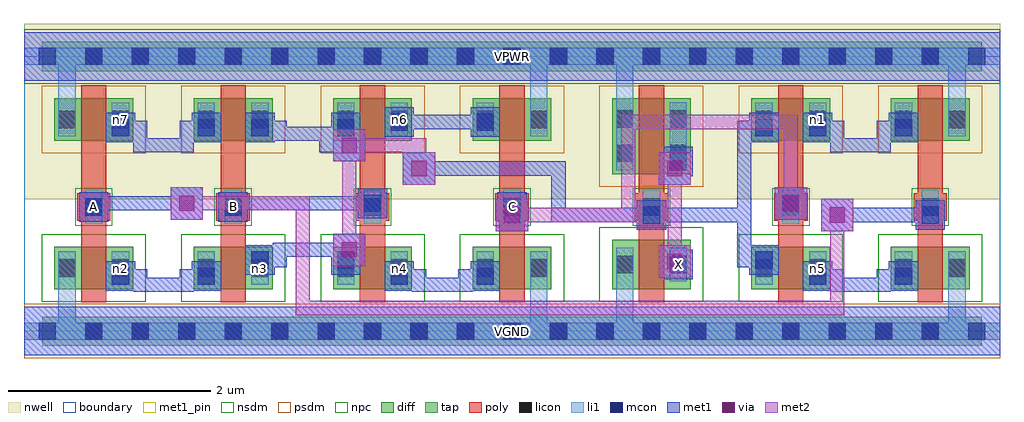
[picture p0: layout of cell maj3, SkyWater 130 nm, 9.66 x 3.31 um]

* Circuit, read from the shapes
.subckt maj3 A B C VGND VPWR X n1 n2 n3 n4 n5 n6 n7
XM1 n2 A VGND VGND sky130_fd_pr__nfet_01v8 w=0.42 l=0.25
XM2 n3 B n2 VGND sky130_fd_pr__nfet_01v8 w=0.42 l=0.25
XM3 n4 B n3 VGND sky130_fd_pr__nfet_01v8 w=0.42 l=0.25
XM4 VGND C n4 VGND sky130_fd_pr__nfet_01v8 w=0.42 l=0.25
XM5 X n3 VGND VGND sky130_fd_pr__nfet_01v8 w=0.49 l=0.25
XM6 n5 C n3 VGND sky130_fd_pr__nfet_01v8 w=0.42 l=0.25
XM7 VGND A n5 VGND sky130_fd_pr__nfet_01v8 w=0.42 l=0.25
XM8 n7 A VPWR VPWR sky130_fd_pr__pfet_01v8 w=0.42 l=0.25
XM9 n3 B n7 VPWR sky130_fd_pr__pfet_01v8 w=0.42 l=0.25
XM10 n6 B n3 VPWR sky130_fd_pr__pfet_01v8 w=0.42 l=0.25
XM11 VPWR C n6 VPWR sky130_fd_pr__pfet_01v8 w=0.42 l=0.25
XM12 X n3 VPWR VPWR sky130_fd_pr__pfet_01v8 w=0.75 l=0.25
XM13 n1 C n3 VPWR sky130_fd_pr__pfet_01v8 w=0.42 l=0.25
XM14 VPWR A n1 VPWR sky130_fd_pr__pfet_01v8 w=0.42 l=0.25
.ends

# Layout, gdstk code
import gdstk
lib = gdstk.Library(unit=1e-6, precision=1e-09)
def R(c, l, rs):  # rectangles x0, y0, x1, y1
    for r in rs: c.add(gdstk.rectangle(r[:2], r[2:], *l))
def A(c, l, x, y, w, h, nx, ny, dx, dy):  # array of equal rectangles
    R(c, l, [(x+i*dx, y+j*dy, x+i*dx+w, y+j*dy+h) for i in range(nx) for j in range(ny)])
nwell = (64, 20)
diff = (65, 20)
tap = (65, 44)
poly = (66, 20)
licon = (66, 44)
li1 = (67, 20)
mcon = (67, 44)
met1_pin = (68, 16)
met1 = (68, 20)
via = (68, 44)
met2 = (69, 20)
nsdm = (93, 44)
psdm = (94, 20)
npc = (95, 20)
boundary = (235, 4)

maj3 = lib.new_cell('maj3')
R(maj3, nwell, [(0,1.305,9.66,3.045)])
A(maj3, diff, 0.3, 0.415, 0.78, 0.42, 4, 2, 1.38, 1.47)
R(maj3, diff, [(5.82,0.415,6.6,0.905), (7.2,0.415,7.98,0.835), (8.58,0.415,9.36,0.835), (5.82,1.555,6.6,2.305), (7.2,1.885,7.98,2.305), (8.58,1.885,9.36,2.305)])
R(maj3, tap, [(0.18,-0.145,9.48,0.145), (0.18,2.575,9.48,2.865)])
A(maj3, poly, 0.565, 0.285, 0.25, 2.15, 7, 1, 1.38, 0)
A(maj3, poly, 0.525, 1.095, 0.33, 0.27, 7, 1, 1.38, 0)
A(maj3, licon, 0.605, -0.085, 0.17, 0.17, 19, 2, 0.46, 2.72)
A(maj3, licon, 0.605, 1.145, 0.17, 0.17, 7, 1, 1.38, 0)
R(maj3, licon, [(0.34,0.54,0.51,0.71), (0.87,0.54,1.04,0.71), (1.72,0.54,1.89,0.71), (2.25,0.54,2.42,0.71), (3.1,0.54,3.27,0.71), (3.63,0.54,3.8,0.71), (4.48,0.54,4.65,0.71), (5.01,0.54,5.18,0.71), (7.24,0.54,7.41,0.71), (7.77,0.54,7.94,0.71), (8.62,0.54,8.79,0.71), (9.15,0.54,9.32,0.71), (5.86,0.575,6.03,0.745), (6.39,0.575,6.56,0.745), (5.86,1.675,6.03,1.845), (6.39,1.675,6.56,1.845), (0.34,2.01,0.51,2.18), (0.87,2.01,1.04,2.18), (1.72,2.01,1.89,2.18), (2.25,2.01,2.42,2.18), (3.1,2.01,3.27,2.18), (3.63,2.01,3.8,2.18), (4.48,2.01,4.65,2.18), (5.01,2.01,5.18,2.18), (7.24,2.01,7.41,2.18), (7.77,2.01,7.94,2.18), (8.62,2.01,8.79,2.18), (9.15,2.01,9.32,2.18), (5.86,2.015,6.03,2.185), (6.39,2.015,6.56,2.185)])
A(maj3, li1, 0.605, 1.065, 0.17, 0.33, 7, 1, 1.38, 0)
R(maj3, li1, [(0,-0.085,9.66,0.085), (0.34,-0.085,0.51,0.79), (5.01,-0.085,5.18,0.79), (5.86,-0.085,6.03,0.825), (9.15,-0.085,9.32,0.79), (0.34,0.46,0.51,0.79), (0.87,0.46,1.04,0.79), (1.72,0.46,1.89,0.79), (2.25,0.46,2.42,0.79), (3.1,0.46,3.27,0.79), (3.63,0.46,3.8,0.79), (4.48,0.46,4.65,0.79), (5.01,0.46,5.18,0.79), (7.24,0.46,7.41,0.79), (7.77,0.46,7.94,0.79), (8.62,0.46,8.79,0.79), (9.15,0.46,9.32,0.79), (5.86,0.495,6.03,0.825), (6.39,0.495,6.56,0.825), (5.86,1.595,6.03,2.265), (5.86,1.595,6.03,2.805), (6.39,1.595,6.56,2.265), (0.34,1.93,0.51,2.26), (0.34,1.93,0.51,2.805), (0.87,1.93,1.04,2.26), (1.72,1.93,1.89,2.26), (2.25,1.93,2.42,2.26), (3.1,1.93,3.27,2.26), (3.63,1.93,3.8,2.26), (4.48,1.93,4.65,2.26), (5.01,1.93,5.18,2.26), (5.01,1.93,5.18,2.805), (7.24,1.93,7.41,2.26), (7.77,1.93,7.94,2.26), (8.62,1.93,8.79,2.26), (9.15,1.93,9.32,2.26), (9.15,1.93,9.32,2.805), (0,2.635,9.66,2.805)])
A(maj3, mcon, 0.145, -0.085, 0.17, 0.17, 21, 2, 0.46, 2.72)
R(maj3, mcon, [(0.87,0.46,1.04,0.63), (1.72,0.46,1.89,0.63), (3.63,0.46,3.8,0.63), (4.48,0.46,4.65,0.63), (7.77,0.46,7.94,0.63), (8.62,0.46,8.79,0.63), (6.39,0.575,6.56,0.745), (2.25,0.62,2.42,0.79), (3.1,0.62,3.27,0.79), (7.24,0.62,7.41,0.79), (6.125,1.065,6.295,1.235), (8.885,1.065,9.055,1.235), (0.605,1.145,0.775,1.315), (1.985,1.145,2.155,1.315), (4.745,1.145,4.915,1.315), (3.365,1.18,3.535,1.35), (7.505,1.18,7.675,1.35), (6.39,1.595,6.56,1.765), (0.87,1.93,1.04,2.1), (1.72,1.93,1.89,2.1), (2.25,1.93,2.42,2.1), (3.1,1.93,3.27,2.1), (7.24,1.93,7.41,2.1), (7.77,1.93,7.94,2.1), (8.62,1.93,8.79,2.1), (3.63,1.985,3.8,2.155), (4.48,1.985,4.65,2.155)])
R(maj3, met1_pin, [(0,-0.24,9.66,0.24), (6.33,0.515,6.62,0.805), (0.545,1.085,0.835,1.375), (1.925,1.085,2.215,1.375), (4.685,1.085,4.975,1.375), (0,2.48,9.66,2.96)])
R(maj3, met1, [(0,-0.24,9.66,0.24), (1.08,0.39,1.68,0.53), (1.08,0.39,1.22,0.615), (1.54,0.39,1.68,0.615), (3.84,0.39,4.44,0.53), (3.84,0.39,3.98,0.615), (4.3,0.39,4.44,0.615), (7.98,0.39,8.58,0.53), (7.98,0.39,8.12,0.615), (8.44,0.39,8.58,0.615), (0.81,0.4,1.1,0.69), (1.66,0.4,1.95,0.69), (3.57,0.4,3.86,0.69), (4.42,0.4,4.71,0.69), (7.71,0.4,8,0.69), (8.56,0.4,8.85,0.69), (0.885,0.475,1.22,0.615), (1.54,0.475,1.875,0.615), (3.645,0.475,3.98,0.615), (4.3,0.475,4.635,0.615), (7.785,0.475,8.12,0.615), (8.44,0.475,8.775,0.615), (6.33,0.515,6.62,0.805), (6.28,0.53,6.6,0.85), (2.19,0.56,2.48,0.85), (3.04,0.56,3.33,0.85), (7.18,0.56,7.47,0.85), (6.37,0.62,6.51,0.76), (2.265,0.635,2.6,0.775), (2.46,0.635,2.6,0.875), (3.115,0.635,3.29,0.775), (3.15,0.635,3.29,0.875), (7.06,0.635,7.395,0.775), (7.06,0.635,7.2,0.875), (3.06,0.645,3.38,0.965), (2.46,0.735,3.29,0.875), (7.06,0.735,7.2,1.22), (4.67,0.99,4.99,1.31), (7.89,0.99,8.21,1.31), (6.065,1.005,6.355,1.295), (8.825,1.005,9.115,1.295), (4.76,1.08,4.9,1.335), (5.22,1.08,6.28,1.22), (5.22,1.08,5.36,1.68), (6.14,1.08,7.2,1.22), (7.06,1.08,7.2,1.91), (7.98,1.08,9.04,1.22), (0.545,1.085,0.835,1.375), (1.925,1.085,2.215,1.375), (4.685,1.085,4.975,1.375), (1.45,1.105,1.77,1.425), (7.43,1.105,7.75,1.425), (3.305,1.12,3.595,1.41), (7.445,1.12,7.735,1.41), (0.62,1.195,0.76,1.335), (0.62,1.195,1.68,1.335), (2,1.195,2.14,1.335), (2,1.195,3.52,1.335), (4.76,1.195,4.9,1.335), (3.75,1.45,4.07,1.77), (6.28,1.45,6.6,1.77), (6.33,1.535,6.62,1.825), (3.84,1.54,5.36,1.68), (6.37,1.54,6.51,1.75), (6.37,1.61,6.545,1.75), (3.06,1.68,3.38,2), (1.08,1.77,1.22,2.085), (1.08,1.77,1.68,1.91), (1.54,1.77,1.68,2.085), (2.92,1.77,3.29,1.91), (2.92,1.77,3.06,2.025), (3.06,1.77,3.15,2.025), (3.15,1.77,3.29,2.085), (7.06,1.77,7.2,2.085), (7.98,1.77,8.12,2.085), (7.98,1.77,8.58,1.91), (8.44,1.77,8.58,2.085), (0.81,1.87,1.1,2.16), (1.66,1.87,1.95,2.16), (2.19,1.87,2.48,2.16), (3.04,1.87,3.33,2.16), (7.18,1.87,7.47,2.16), (7.71,1.87,8,2.16), (8.56,1.87,8.85,2.16), (2.46,1.885,2.6,2.085), (2.46,1.885,3.06,2.025), (3.57,1.925,3.86,2.215), (4.42,1.925,4.71,2.215), (0.885,1.945,1.22,2.085), (1.54,1.945,1.875,2.085), (2.265,1.945,2.6,2.085), (3.115,1.945,3.29,2.085), (7.06,1.945,7.395,2.085), (7.785,1.945,8.12,2.085), (8.44,1.945,8.775,2.085), (3.645,2,3.98,2.14), (3.84,2,4.44,2.14), (4.3,2,4.635,2.14), (0,2.48,9.66,2.96)])
R(maj3, via, [(6.365,0.615,6.515,0.765), (3.145,0.73,3.295,0.88), (4.755,1.075,4.905,1.225), (7.975,1.075,8.125,1.225), (1.535,1.19,1.685,1.34), (7.515,1.19,7.665,1.34), (3.835,1.535,3.985,1.685), (6.365,1.535,6.515,1.685), (3.145,1.765,3.295,1.915)])
R(maj3, met2, [(2.69,0.16,2.83,1.335), (2.69,0.16,8.12,0.3), (7.98,0.16,8.12,1.22), (6.28,0.53,6.6,0.85), (6.37,0.62,6.51,1.68), (3.06,0.645,3.38,0.965), (3.15,0.735,3.29,1.91), (4.67,0.99,4.99,1.31), (7.89,0.99,8.21,1.31), (4.76,1.08,6.05,1.22), (5.91,1.08,6.05,2.14), (1.45,1.105,1.77,1.425), (7.43,1.105,7.75,1.425), (1.54,1.195,2.83,1.335), (7.52,1.195,7.66,2.14), (3.75,1.45,4.07,1.77), (6.28,1.45,6.6,1.77), (3.84,1.54,3.98,1.91), (3.06,1.68,3.38,2), (3.15,1.77,3.98,1.91), (5.91,2,7.66,2.14)])
A(maj3, nsdm, 0.175, 0.29, 1.03, 0.67, 4, 1, 1.38, 0)
R(maj3, nsdm, [(5.695,0.29,6.725,1.03), (7.075,0.29,8.105,0.96), (8.455,0.29,9.485,0.96), (0,2.45,9.66,2.99)])
A(maj3, psdm, 0.175, 1.76, 1.03, 0.67, 4, 1, 1.38, 0)
R(maj3, psdm, [(0,-0.27,9.66,0.27), (5.695,1.43,6.725,2.43), (7.075,1.76,8.105,2.43), (8.455,1.76,9.485,2.43)])
A(maj3, npc, 0.505, 1.045, 0.37, 0.37, 7, 1, 1.38, 0)
R(maj3, boundary, [(0,0,9.66,2.72)])
maj3.add(gdstk.Label('n2', (0.955,0.625), layer=67, texttype=5))
maj3.add(gdstk.Label('n7', (0.955,2.095), layer=67, texttype=5))
maj3.add(gdstk.Label('n3', (2.335,0.625), layer=67, texttype=5))
maj3.add(gdstk.Label('n4', (3.715,0.625), layer=67, texttype=5))
maj3.add(gdstk.Label('n6', (3.715,2.095), layer=67, texttype=5))
maj3.add(gdstk.Label('n5', (7.855,0.625), layer=67, texttype=5))
maj3.add(gdstk.Label('n1', (7.855,2.095), layer=67, texttype=5))
maj3.add(gdstk.Label('A', (0.69,1.23), layer=68, texttype=5))
maj3.add(gdstk.Label('B', (2.07,1.23), layer=68, texttype=5))
maj3.add(gdstk.Label('C', (4.83,1.23), layer=68, texttype=5))
maj3.add(gdstk.Label('X', (6.475,0.66), layer=68, texttype=5))
maj3.add(gdstk.Label('VPWR', (4.83,2.72), layer=68, texttype=5))
maj3.add(gdstk.Label('VGND', (4.83,0), layer=68, texttype=5))
maj3.add(gdstk.Label('A', (0.69,1.23), layer=68, texttype=16))
maj3.add(gdstk.Label('B', (2.07,1.23), layer=68, texttype=16))
maj3.add(gdstk.Label('C', (4.83,1.23), layer=68, texttype=16))
maj3.add(gdstk.Label('X', (6.475,0.66), layer=68, texttype=16))
maj3.add(gdstk.Label('VPWR', (4.83,2.72), layer=68, texttype=16))
maj3.add(gdstk.Label('VGND', (4.83,0), layer=68, texttype=16))

lib.write_gds('maj3.gds')
